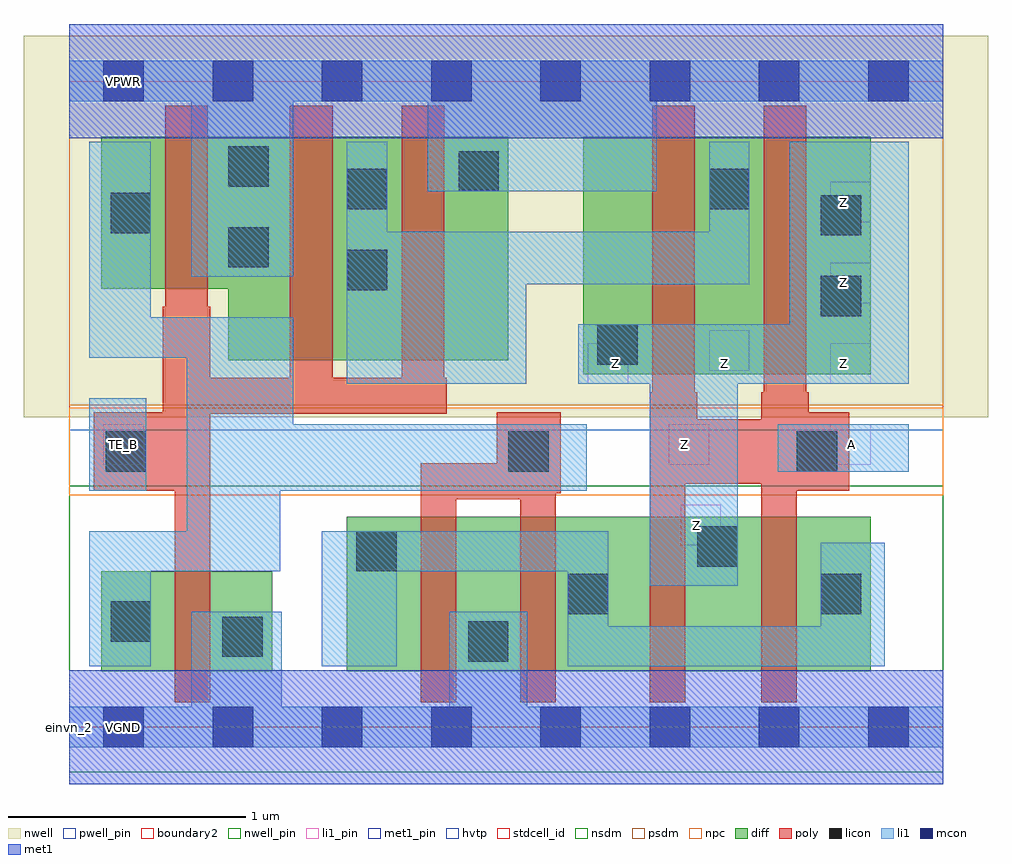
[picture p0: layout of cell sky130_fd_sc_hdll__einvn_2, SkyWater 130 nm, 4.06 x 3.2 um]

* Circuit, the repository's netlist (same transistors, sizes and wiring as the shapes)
* Copyright 2020 The SkyWater PDK Authors
*
* Licensed under the Apache License, Version 2.0 (the "License");
* you may not use this file except in compliance with the License.
* You may obtain a copy of the License at
*
*     https://www.apache.org/licenses/LICENSE-2.0
*
* Unless required by applicable law or agreed to in writing, software
* distributed under the License is distributed on an "AS IS" BASIS,
* WITHOUT WARRANTIES OR CONDITIONS OF ANY KIND, either express or implied.
* See the License for the specific language governing permissions and
* limitations under the License.
*
* SPDX-License-Identifier: Apache-2.0

.SUBCKT sky130_fd_sc_hdll__einvn_2 A TE_B VGND VNB VPB VPWR Z
*.PININFO A:I TE_B:I VGND:I VNB:I VPB:I VPWR:I Z:O
MMN0 Z A sndA VNB sky130_fd_pr__nfet_01v8 m=2 w=0.65U l=0.15U mult=1 sa=0.265 sb=0.265
+ sd=0.28 area=0.063 perim=1.14
MMN1 sndA TE VGND VNB sky130_fd_pr__nfet_01v8 m=2 w=0.65U l=0.15U mult=1 sa=0.265
+ sb=0.265 sd=0.28 area=0.063 perim=1.14
MMIN1 TE TE_B VGND VNB sky130_fd_pr__nfet_01v8 m=1 w=0.42U l=0.15U mult=1 sa=0.265
+ sb=0.265 sd=0.28 area=0.063 perim=1.14
MMP0 VPWR TE_B sndTEB VPB sky130_fd_pr__pfet_01v8_hvt m=2 w=0.94U l=0.18U mult=1
+ sa=0.265 sb=0.265 sd=0.28 area=0.063 perim=1.14
MMP1 sndTEB A Z VPB sky130_fd_pr__pfet_01v8_hvt m=2 w=1.0U l=0.18U mult=1 sa=0.265
+ sb=0.265 sd=0.28 area=0.063 perim=1.14
MMIP1 TE TE_B VPWR VPB sky130_fd_pr__pfet_01v8_hvt m=1 w=0.64U l=0.18U mult=1 sa=0.265
+ sb=0.265 sd=0.28 area=0.063 perim=1.14
.ENDS sky130_fd_sc_hdll__einvn_2

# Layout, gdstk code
import gdstk
lib = gdstk.Library(unit=1e-6, precision=1e-09)
def R(c, l, rs):  # rectangles x0, y0, x1, y1
    for r in rs: c.add(gdstk.rectangle(r[:2], r[2:], *l))
def A(c, l, x, y, w, h, nx, ny, dx, dy):  # array of equal rectangles
    R(c, l, [(x+i*dx, y+j*dy, x+i*dx+w, y+j*dy+h) for i in range(nx) for j in range(ny)])
def P(c, l, *ps):  # polygons
    for p in ps: c.add(gdstk.Polygon(p, *l))
nwell_pin = (64, 16)
nwell = (64, 20)
diff = (65, 20)
poly = (66, 20)
licon = (66, 44)
li1_pin = (67, 16)
li1 = (67, 20)
mcon = (67, 44)
met1_pin = (68, 16)
met1 = (68, 20)
hvtp = (78, 44)
stdcell_id = (81, 4)
nsdm = (93, 44)
psdm = (94, 20)
npc = (95, 20)
pwell_pin = (122, 16)
boundary2 = (236, 0)

sky130_fd_sc_hdll__einvn = lib.new_cell('sky130_fd_sc_hdll__einvn_2')
R(sky130_fd_sc_hdll__einvn, nwell_pin, [(0.145,2.635,0.315,2.805)])
R(sky130_fd_sc_hdll__einvn, nwell, [(-0.19,1.305,3.87,2.91)])
R(sky130_fd_sc_hdll__einvn, diff, [(0.135,0.235,0.855,0.655), (1.17,0.235,3.375,0.885), (2.165,1.485,3.375,2.485)])
P(sky130_fd_sc_hdll__einvn, diff, [(1.85,2.485),(0.135,2.485),(0.135,1.845),(0.67,1.845),(0.67,1.545),(1.85,1.545)])
P(sky130_fd_sc_hdll__einvn, poly, [(1.59,1.47),(1.58,1.47),(1.58,2.615),(1.4,2.615),(1.4,1.47),(1.11,1.47),(1.11,2.615),(0.93,2.615),(0.93,1.47),(0.595,1.47),(0.595,1.77),(0.585,1.77),(0.585,2.615),(0.405,2.615),(0.405,1.77),(0.395,1.77),(0.395,1.325),(0.105,1.325),(0.105,0.995),(0.445,0.995),(0.445,0.105),(0.595,0.105),(0.595,1.32),(1.59,1.32)],
  [(2.07,1.325),(1.8,1.325),(1.8,1.11),(1.48,1.11),(1.48,0.105),(1.63,0.105),(1.63,0.96),(1.9,0.96),(1.9,0.105),(2.05,0.105),(2.05,0.985),(2.07,0.985)],
  [(3.285,1.325),(3.115,1.325),(3.115,1.41),(3.105,1.41),(3.105,2.615),(2.925,2.615),(2.925,1.41),(2.915,1.41),(2.915,1.295),(2.645,1.295),(2.645,1.41),(2.635,1.41),(2.635,2.615),(2.455,2.615),(2.455,1.41),(2.445,1.41),(2.445,0.105),(2.595,0.105),(2.595,1.025),(2.915,1.025),(2.915,0.105),(3.065,0.105),(3.065,0.995),(3.285,0.995)])
R(sky130_fd_sc_hdll__einvn, licon, [(1.68,0.275,1.85,0.445), (0.645,0.295,0.815,0.465), (0.175,0.36,0.345,0.53), (2.1,0.475,2.27,0.645), (3.165,0.475,3.335,0.645), (1.21,0.655,1.38,0.825), (2.645,0.675,2.815,0.845), (0.155,1.075,0.325,1.245), (1.85,1.075,2.02,1.245), (3.065,1.075,3.235,1.245), (2.225,1.525,2.395,1.695), (3.165,1.73,3.335,1.9), (1.17,1.84,1.34,2.01), (0.67,1.935,0.84,2.105), (3.165,2.07,3.335,2.24), (0.175,2.08,0.345,2.25), (1.17,2.18,1.34,2.35), (2.695,2.18,2.865,2.35), (1.64,2.255,1.81,2.425), (0.67,2.275,0.84,2.445)])
A(sky130_fd_sc_hdll__einvn, li1_pin, 3.205, 1.105, 0.17, 0.17, 1, 4, 0, 0.34)
R(sky130_fd_sc_hdll__einvn, li1_pin, [(2.575,0.765,2.745,0.935), (0.145,1.105,0.315,1.275), (2.525,1.105,2.695,1.275), (2.185,1.445,2.355,1.615), (2.695,1.5,2.865,1.67)])
R(sky130_fd_sc_hdll__einvn, li1, [(0.085,0.995,0.325,1.385), (2.985,1.075,3.535,1.275)])
P(sky130_fd_sc_hdll__einvn, li1, [(3.435,0.775),(3.165,0.775),(3.165,0.425),(2.27,0.425),(2.27,0.825),(1.065,0.825),(1.065,0.255),(1.38,0.255),(1.38,0.655),(2.1,0.655),(2.1,0.255),(3.435,0.255)],
  [(2.18,1.275),(0.945,1.275),(0.945,1.725),(0.345,1.725),(0.345,2.465),(0.085,2.465),(0.085,1.555),(0.495,1.555),(0.495,0.825),(0.085,0.825),(0.085,0.255),(0.345,0.255),(0.345,0.655),(0.89,0.655),(0.89,0.995),(2.18,0.995)],
  [(3.535,2.465),(3.035,2.465),(3.035,1.695),(2.145,1.695),(2.145,1.445),(2.445,1.445),(2.445,0.595),(2.815,0.595),(2.815,1.445),(3.535,1.445)],
  [(3.68,2.805),(0,2.805),(0,2.635),(0.515,2.635),(0.515,1.895),(0.945,1.895),(0.945,2.635),(1.51,2.635),(1.51,2.255),(2.475,2.255),(2.475,2.635),(3.68,2.635)],
  [(2.865,2.465),(2.695,2.465),(2.695,2.085),(1.34,2.085),(1.34,2.465),(1.17,2.465),(1.17,1.445),(1.925,1.445),(1.925,1.865),(2.865,1.865)],
  [(3.68,0.085),(1.93,0.085),(1.93,0.485),(1.6,0.485),(1.6,0.085),(0.895,0.085),(0.895,0.485),(0.515,0.485),(0.515,0.085),(0,0.085),(0,-0.085),(3.68,-0.085)])
A(sky130_fd_sc_hdll__einvn, mcon, 0.145, -0.085, 0.17, 0.17, 8, 2, 0.46, 2.72)
R(sky130_fd_sc_hdll__einvn, met1_pin, [(0.145,-0.085,0.315,0.085), (0.145,2.635,0.315,2.805)])
R(sky130_fd_sc_hdll__einvn, met1, [(0,-0.24,3.68,0.24), (0,2.48,3.68,2.96)])
R(sky130_fd_sc_hdll__einvn, hvtp, [(0,1.25,3.68,2.72)])
R(sky130_fd_sc_hdll__einvn, stdcell_id, [(0,0,3.68,2.72)])
R(sky130_fd_sc_hdll__einvn, nsdm, [(0,-0.19,3.68,1.015)])
R(sky130_fd_sc_hdll__einvn, psdm, [(0,1.355,3.68,2.91)])
R(sky130_fd_sc_hdll__einvn, npc, [(0,0.975,3.68,1.345)])
R(sky130_fd_sc_hdll__einvn, pwell_pin, [(0.145,-0.085,0.315,0.085)])
R(sky130_fd_sc_hdll__einvn, boundary2, [(0,0,3.68,2.72)])
sky130_fd_sc_hdll__einvn.add(gdstk.Label('TE_B', (0.23,1.19), layer=67, texttype=5))
sky130_fd_sc_hdll__einvn.add(gdstk.Label('A', (3.295,1.19), layer=67, texttype=5))
sky130_fd_sc_hdll__einvn.add(gdstk.Label('Z', (2.64,0.85), layer=67, texttype=5))
sky130_fd_sc_hdll__einvn.add(gdstk.Label('Z', (2.59,1.19), layer=67, texttype=5))
sky130_fd_sc_hdll__einvn.add(gdstk.Label('Z', (2.3,1.53), layer=67, texttype=5))
sky130_fd_sc_hdll__einvn.add(gdstk.Label('Z', (2.76,1.53), layer=67, texttype=5))
sky130_fd_sc_hdll__einvn.add(gdstk.Label('Z', (3.26,1.53), layer=67, texttype=5))
sky130_fd_sc_hdll__einvn.add(gdstk.Label('Z', (3.26,2.21), layer=67, texttype=5))
sky130_fd_sc_hdll__einvn.add(gdstk.Label('Z', (3.26,1.87), layer=67, texttype=5))
sky130_fd_sc_hdll__einvn.add(gdstk.Label('VPWR', (0.23,2.72), layer=68, texttype=5))
sky130_fd_sc_hdll__einvn.add(gdstk.Label('VGND', (0.23,0), layer=68, texttype=5))
sky130_fd_sc_hdll__einvn.add(gdstk.Label('VPB', (0.23,2.72), layer=64, texttype=5))
sky130_fd_sc_hdll__einvn.add(gdstk.Label('VNB', (0.23,0), layer=64, texttype=59))
sky130_fd_sc_hdll__einvn.add(gdstk.Label('einvn_2', (0,0), layer=83, texttype=44))

lib.write_gds('sky130_fd_sc_hdll__einvn_2.gds')
